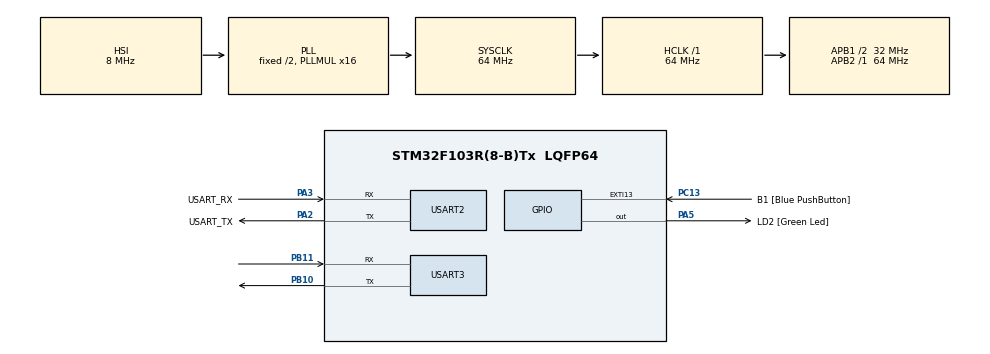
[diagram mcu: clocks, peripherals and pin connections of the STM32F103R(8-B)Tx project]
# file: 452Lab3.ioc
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Mcu.Family=STM32F1
Mcu.Name=STM32F103R(8-B)Tx
Mcu.Package=LQFP64
NVIC.EXTI15_10_IRQn=true\:0\:0\:false\:false\:true\:true\:true\:true
NVIC.PriorityGroup=NVIC_PRIORITYGROUP_4
NVIC.USART3_IRQn=true\:0\:0\:false\:false\:true\:true\:true\:true
PA13.GPIO_Label=TMS
PA13.Mode=Serial_Wire
PA13.Signal=SYS_JTMS-SWDIO
PA14.GPIO_Label=TCK
PA14.Mode=Serial_Wire
PA14.Signal=SYS_JTCK-SWCLK
PA2.GPIO_Label=USART_TX
PA2.GPIO_Mode=GPIO_MODE_AF_PP
PA2.GPIO_PuPd=GPIO_NOPULL
PA2.GPIO_Speed=GPIO_SPEED_FREQ_LOW
PA2.Mode=Asynchronous
PA2.Signal=USART2_TX
PA3.GPIO_Label=USART_RX
PA3.GPIO_Mode=GPIO_MODE_AF_PP
PA3.GPIO_PuPd=GPIO_NOPULL
PA3.GPIO_Speed=GPIO_SPEED_FREQ_LOW
PA3.Mode=Asynchronous
PA3.Signal=USART2_RX
PA5.GPIO_Label=LD2 [Green Led]
PA5.GPIO_ModeDefaultOutputPP=GPIO_MODE_OUTPUT_PP
PA5.GPIO_PuPd=GPIO_NOPULL
PA5.GPIO_Speed=GPIO_SPEED_FREQ_LOW
PA5.Signal=GPIO_Output
PB10.Mode=Asynchronous
PB10.Signal=USART3_TX
PB11.Mode=Asynchronous
PB11.Signal=USART3_RX
PB3.GPIO_Label=SWO
PB3.Signal=SYS_JTDO-TRACESWO
PC13-TAMPER-RTC.GPIO_Label=B1 [Blue PushButton]
PC13-TAMPER-RTC.GPIO_PuPd=GPIO_NOPULL
PC13-TAMPER-RTC.Signal=GPXTI13
PC14-OSC32_IN.Mode=LSE-External-Oscillator
PC14-OSC32_IN.Signal=RCC_OSC32_IN
PC15-OSC32_OUT.Mode=LSE-External-Oscillator
PC15-OSC32_OUT.Signal=RCC_OSC32_OUT
PD0-OSC_IN.Mode=HSE-External-Clock-Source
PD0-OSC_IN.Signal=RCC_OSC_IN
PD1-OSC_OUT.Mode=HSE-External-Clock-Source
PD1-OSC_OUT.Signal=RCC_OSC_OUT
ProjectManager.HeapSize=0x200
ProjectManager.StackSize=0x400
ProjectManager.TargetToolchain=STM32CubeIDE
RCC.AHBFreq_Value=64000000
RCC.APB1CLKDivider=RCC_HCLK_DIV2
RCC.APB1Freq_Value=32000000
RCC.APB1TimFreq_Value=64000000
RCC.APB2Freq_Value=64000000
RCC.APB2TimFreq_Value=64000000
RCC.HCLKFreq_Value=64000000
RCC.PLLMUL=RCC_PLL_MUL16
RCC.RTCClockSelection=RCC_RTCCLKSOURCE_LSE
RCC.SYSCLKFreq_VALUE=64000000
RCC.SYSCLKSource=RCC_SYSCLKSOURCE_PLLCLK
RCC.USBFreq_Value=64000000
USART2.VirtualMode=VM_ASYNC
USART3.VirtualMode=VM_ASYNC
board=NUCLEO-F103RB

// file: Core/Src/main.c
/* USER CODE BEGIN Header */
/**
  ******************************************************************************
  * @file           : main.c
  * @brief          : Main program body
  ******************************************************************************
  * @attention
  *
  * Copyright (c) 2022 STMicroelectronics.
  * All rights reserved.
  *
  * This software is licensed under terms that can be found in the LICENSE file
  * in the root directory of this software component.
  * If no LICENSE file comes with this software, it is provided AS-IS.
  *
  ******************************************************************************
  */
/* USER CODE END Header */
#include "main.h"

/* USER CODE BEGIN Includes */
#include <stdbool.h>
#include "string.h"

/* USER CODE END Includes */

/* USER CODE BEGIN PM */
uint8_t cliBufferTX[40];
uint8_t cliBufferRX[40];
uint8_t inputTXBuffer[40];
int x;
/* USER CODE END PM */

 UART_HandleTypeDef huart2;
UART_HandleTypeDef huart3;

void SystemClock_Config(void);
static void MX_GPIO_Init(void);
static void MX_USART2_UART_Init(void);
static void MX_USART3_UART_Init(void);
/* USER CODE BEGIN PFP */
void resetBuff(void);

/* USER CODE END PFP */

/* USER CODE BEGIN 0 */
/*
 * Purpose: resets the buffer for RX and TX
 */
void resetBuff()//resets tx and rx buffer
{
  for (int i = 0; i < 40; ++i) {
	  cliBufferTX[i] = 0;
	  cliBufferRX[i] = 0;
  }
}

void resetInput()//resets input buffer
{
  for (int i = 0; i < 40; ++i) {
	  inputTXBuffer[i] = 0;
  }
}

/* USER CODE END 0 */

int main(void)
{

  /* MCU Configuration--------------------------------------------------------*/

  /* Reset of all peripherals, Initializes the Flash interface and the Systick. */
  HAL_Init();

  /* Configure the system clock */
  SystemClock_Config();

  /* Initialize all configured peripherals */
  MX_GPIO_Init();
  MX_USART2_UART_Init();
  MX_USART3_UART_Init();
  /* USER CODE BEGIN 2 */

  HAL_UART_Transmit(&huart2, "\x1b[0J", 5, 1000); //clearing screen

  strcpy((char *) inputTXBuffer, " ENSE 452 Lab 3: CLI Pt. 2\r\n\r\n");
  HAL_UART_Transmit(&huart2, inputTXBuffer, strlen((char *) inputTXBuffer), 1000);

  uint8_t commands = 0;
  int x = 0;

  //making scrollable cmd window
  HAL_UART_Transmit(&huart2, "\x1b[8;r", 5, 1000);
  HAL_UART_Transmit(&huart2, "\x1b[8;0H", 6, 1000);
  HAL_UART_Transmit(&huart2, "\x1b[1K", 4, 1000);

  HAL_UART_Receive(&huart2, cliBufferRX, 1, 300);

  /* USER CODE END 2 */

  /* Infinite loop */
  /* USER CODE BEGIN WHILE */
  resetInput();
  resetBuff();

  uint8_t input[20];

  while (1)
  {

	  //adding and updating info at top
	  HAL_UART_Transmit(&huart2, "\x1b[s", 3, 1000);
	  HAL_UART_Transmit(&huart2, "\x1b[3;0f", 7, 1000);
	  resetInput();
	  strcpy((char *) inputTXBuffer, "Number of commands: ");
	  HAL_UART_Transmit(&huart2, inputTXBuffer, strlen((char *) inputTXBuffer), 1000);
	  sprintf(input, "%d", commands);
	  HAL_UART_Transmit(&huart2, input, strlen((char *) input), 1000);
	  HAL_UART_Transmit(&huart2, "\x1b[u", 3, 1000);
	  HAL_Delay(1000);
	  commands += 1;

	  //tasks from Lab 2, takes user inputs and completes the commands

	  x = 0;

		  strcpy((char *)cliBufferTX, "\nEnter a command for the LED:\r\n");
		  HAL_UART_Transmit(&huart2, cliBufferTX, strlen((char *)cliBufferTX), 1000);

		  while(cliBufferTX[0] != '\r')
		  {
			  if(HAL_UART_Receive(&huart2, cliBufferRX, 1, 300) == HAL_OK)
			  {
				  if(cliBufferRX[0] == '\b')
				  {
					  cliBufferTX[0] = cliBufferRX[0];
					  cliBufferTX[1] = ' ';
					  cliBufferTX[2] = '\b';
					  HAL_UART_Transmit(&huart2, cliBufferTX, 3, 1000);
					  x--;
				  }
				  else
				  {
					  cliBufferTX[0] = cliBufferRX[0];
					  input[x] = cliBufferRX[0];
					  HAL_UART_Transmit(&huart2, cliBufferTX, 1, 1000);
					  x++;
				  }
			  }
		  }

		  if(input[0] == 'h' && input[1] == 'e' && input[2] == 'l' && input[3] == 'p' && input[4] == '\r')
		  {
			  strcpy((char *)cliBufferTX, "\non -> turns the green LED on\r\n");
			  HAL_UART_Transmit(&huart2, cliBufferTX, strlen((char *)cliBufferTX), 1000);
			  strcpy((char *)cliBufferTX, "\noff -> turns the green LED off\r\n");
			  HAL_UART_Transmit(&huart2, cliBufferTX, strlen((char *)cliBufferTX), 1000);
			  strcpy((char *)cliBufferTX, "\nquery -> returns the state of the green LED\r\n");
			  HAL_UART_Transmit(&huart2, cliBufferTX, strlen((char *)cliBufferTX), 1000);

		  }
		  else if(input[0] == 'o' && input[1] == 'n' && input[2] == '\r')
		  {
			  if(HAL_GPIO_ReadPin(GPIOA, GPIO_PIN_5) == 1)
			  {
				  strcpy((char *)cliBufferTX, "\nThe LED is already on!\r\n");
			  }
			  else
			  {
				  strcpy((char *)cliBufferTX, "\nDone!\r\n");
			  }
			  HAL_UART_Transmit(&huart2, cliBufferTX, strlen((char *)cliBufferTX), 1000);
			  HAL_GPIO_WritePin(GPIOA, GPIO_PIN_5, GPIO_PIN_SET);

		  }
		  else if(input[0] == 'o' && input[1] == 'f' && input[2] == 'f' && input[3] == '\r')
		  {
			  if(HAL_GPIO_ReadPin(GPIOA, GPIO_PIN_5) == 1)
			  {
				  strcpy((char *)cliBufferTX, "\nDone!\r\n");
			  }
			  else
			  {
				  strcpy((char *)cliBufferTX, "\nThe LED is already off!\r\n");
			  }
			  HAL_UART_Transmit(&huart2, cliBufferTX, strlen((char *)cliBufferTX), 1000);
			  HAL_GPIO_WritePin(GPIOA, GPIO_PIN_5, GPIO_PIN_RESET);
		  }
		  else if(input[0] == 'q' && input[1] == 'u' && input[2] == 'e' && input[3] == 'r' && input[4] == 'y' && input[5] == '\r')
		  {
			  if(HAL_GPIO_ReadPin(GPIOA, GPIO_PIN_5) == 1)
			  {
				  strcpy((char *)cliBufferTX, "\nThe LED is on!\r\n");
			  }
			  else
			  {
				  strcpy((char *)cliBufferTX, "\nThe LED is off!\r\n");
			  }
			  HAL_UART_Transmit(&huart2, cliBufferTX, strlen((char *)cliBufferTX), 1000);
		  }
		  else if(input[0] == '\r')
		  {
			  continue;
		  }
		  else
		  {
			  strcpy((char *)cliBufferTX, "\nError. Try again.\r\n");
			  HAL_UART_Transmit(&huart2, cliBufferTX, strlen((char *)cliBufferTX), 1000);
		  }

  }
}

void SystemClock_Config(void)
{
  RCC_OscInitTypeDef RCC_OscInitStruct = {0};
  RCC_ClkInitTypeDef RCC_ClkInitStruct = {0};

  /** Initializes the RCC Oscillators according to the specified parameters
  * in the RCC_OscInitTypeDef structure.
  */
  RCC_OscInitStruct.OscillatorType = RCC_OSCILLATORTYPE_HSI;
  RCC_OscInitStruct.HSIState = RCC_HSI_ON;
  RCC_OscInitStruct.HSICalibrationValue = RCC_HSICALIBRATION_DEFAULT;
  RCC_OscInitStruct.PLL.PLLState = RCC_PLL_ON;
  RCC_OscInitStruct.PLL.PLLSource = RCC_PLLSOURCE_HSI_DIV2;
  RCC_OscInitStruct.PLL.PLLMUL = RCC_PLL_MUL16;
  if (HAL_RCC_OscConfig(&RCC_OscInitStruct) != HAL_OK)
  {
    Error_Handler();
  }

  /** Initializes the CPU, AHB and APB buses clocks
  */
  RCC_ClkInitStruct.ClockType = RCC_CLOCKTYPE_HCLK|RCC_CLOCKTYPE_SYSCLK
                              |RCC_CLOCKTYPE_PCLK1|RCC_CLOCKTYPE_PCLK2;
  RCC_ClkInitStruct.SYSCLKSource = RCC_SYSCLKSOURCE_PLLCLK;
  RCC_ClkInitStruct.AHBCLKDivider = RCC_SYSCLK_DIV1;
  RCC_ClkInitStruct.APB1CLKDivider = RCC_HCLK_DIV2;
  RCC_ClkInitStruct.APB2CLKDivider = RCC_HCLK_DIV1;

  if (HAL_RCC_ClockConfig(&RCC_ClkInitStruct, FLASH_LATENCY_2) != HAL_OK)
  {
    Error_Handler();
  }
}

static void MX_USART2_UART_Init(void)
{

  huart2.Instance = USART2;
  huart2.Init.BaudRate = 115200;
  huart2.Init.WordLength = UART_WORDLENGTH_8B;
  huart2.Init.StopBits = UART_STOPBITS_1;
  huart2.Init.Parity = UART_PARITY_NONE;
  huart2.Init.Mode = UART_MODE_TX_RX;
  huart2.Init.HwFlowCtl = UART_HWCONTROL_NONE;
  huart2.Init.OverSampling = UART_OVERSAMPLING_16;
  if (HAL_UART_Init(&huart2) != HAL_OK)
  {
    Error_Handler();
  }

}

static void MX_USART3_UART_Init(void)
{

  huart3.Instance = USART3;
  huart3.Init.BaudRate = 115200;
  huart3.Init.WordLength = UART_WORDLENGTH_8B;
  huart3.Init.StopBits = UART_STOPBITS_1;
  huart3.Init.Parity = UART_PARITY_NONE;
  huart3.Init.Mode = UART_MODE_TX_RX;
  huart3.Init.HwFlowCtl = UART_HWCONTROL_NONE;
  huart3.Init.OverSampling = UART_OVERSAMPLING_16;
  if (HAL_UART_Init(&huart3) != HAL_OK)
  {
    Error_Handler();
  }

}

static void MX_GPIO_Init(void)
{
  GPIO_InitTypeDef GPIO_InitStruct = {0};

  /* GPIO Ports Clock Enable */
  __HAL_RCC_GPIOC_CLK_ENABLE();
  __HAL_RCC_GPIOD_CLK_ENABLE();
  __HAL_RCC_GPIOA_CLK_ENABLE();
  __HAL_RCC_GPIOB_CLK_ENABLE();

  /*Configure GPIO pin Output Level */
  HAL_GPIO_WritePin(LD2_GPIO_Port, LD2_Pin, GPIO_PIN_RESET);

  /*Configure GPIO pin : B1_Pin */
  GPIO_InitStruct.Pin = B1_Pin;
  GPIO_InitStruct.Mode = GPIO_MODE_IT_RISING;
  GPIO_InitStruct.Pull = GPIO_NOPULL;
  HAL_GPIO_Init(B1_GPIO_Port, &GPIO_InitStruct);

  /*Configure GPIO pin : LD2_Pin */
  GPIO_InitStruct.Pin = LD2_Pin;
  GPIO_InitStruct.Mode = GPIO_MODE_OUTPUT_PP;
  GPIO_InitStruct.Pull = GPIO_NOPULL;
  GPIO_InitStruct.Speed = GPIO_SPEED_FREQ_LOW;
  HAL_GPIO_Init(LD2_GPIO_Port, &GPIO_InitStruct);

  /* EXTI interrupt init*/
  HAL_NVIC_SetPriority(EXTI15_10_IRQn, 0, 0);
  HAL_NVIC_EnableIRQ(EXTI15_10_IRQn);

}

void Error_Handler(void)
{
  __disable_irq();
  while (1)
  {
  }
}
